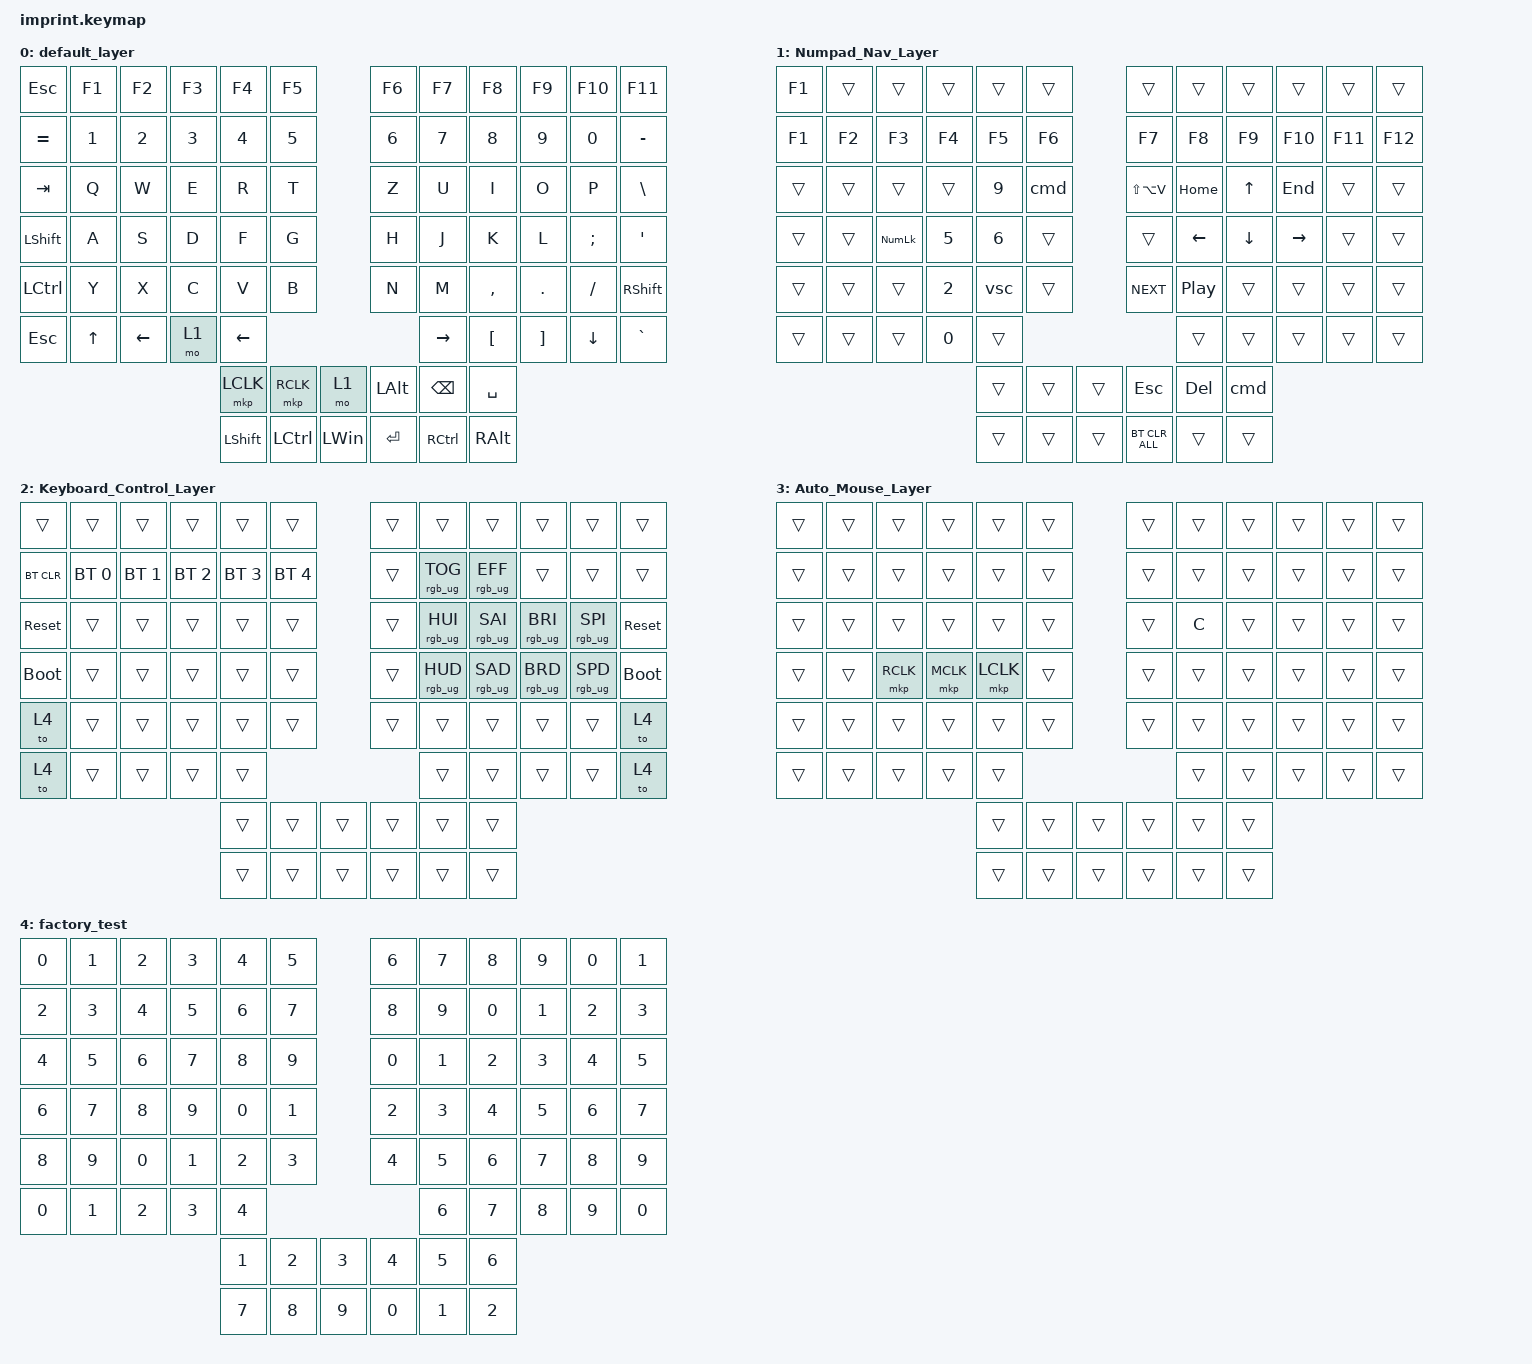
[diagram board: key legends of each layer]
#include <input/processors.dtsi>
#include <dt-bindings/zmk/input_transform.h>
#include <behaviors.dtsi>
#include <dt-bindings/zmk/bt.h>
#include <dt-bindings/zmk/keys.h>
#include <dt-bindings/zmk/pointing.h>
#include <dt-bindings/zmk/rgb.h>

/ {
    chosen { zmk,matrix-transform = &imprint_function_row_full_bottom_row; };

    macros {
        cmd: cmd {
            compatible = "zmk,behavior-macro";
            label = "CMD"; // Label ebenfalls angepasst
            #binding-cells = <0>;
            wait-ms = <30>;
            tap-ms = <30>;
            bindings =
                <&macro_press>,
                <&kp LSHFT>,
                <&macro_tap>,
                <&kp F10>,
                <&macro_release>,
                <&kp LSHFT>,
                <&macro_wait_time 60>,
                <&macro_tap>,
                <&kp T>,
                <&macro_tap>,
                <&kp RET>;
        };

        warp: warp {
            compatible = "zmk,behavior-macro";
            label = "WARP";
            #binding-cells = <0>;
            wait-ms = <30>;
            tap-ms = <30>;
            bindings =
                <&macro_press>,
                <&kp LALT>,
                <&macro_tap>,
                <&kp D>,
                <&macro_release>,
                <&kp LALT>,
                <&macro_wait_time 50>,
                <&macro_tap>,
                <&kp W &kp A &kp R &kp P>,
                <&macro_tap>,
                <&kp RET>;
        };

        vsc: vsc {
            compatible = "zmk,behavior-macro";
            label = "VSC";
            #binding-cells = <0>;
            wait-ms = <30>;
            tap-ms = <30>;
            bindings =
                <&macro_press>,
                <&kp LALT>,
                <&macro_tap>,
                <&kp D>,
                <&macro_release>,
                <&kp LALT>,
                <&macro_wait_time 50>,
                <&macro_tap>,
                <&kp C &kp O &kp D &kp E &kp DOT &kp E &kp X &kp E &kp SPACE &kp DOT>,
                <&macro_tap>,
                <&kp RET>;
        };

        terminal: terminal {
            compatible = "zmk,behavior-macro";
            label = "TERMINAL";
            #binding-cells = <0>;
            wait-ms = <30>;
            tap-ms = <30>;
            bindings =
                <&macro_press>,
                <&kp LGUI>,
                <&macro_tap>,
                <&kp R>,
                <&macro_release>,
                <&kp LGUI>,
                <&macro_wait_time 100>,
                <&macro_tap>,
                <&kp W &kp T>,
                <&macro_tap>,
                <&kp RET>;
        };

        explorer: explorer {
            compatible = "zmk,behavior-macro";
            label = "EXPLORER";
            #binding-cells = <0>;
            wait-ms = <30>;   // Standard-Wartezeit zwischen den Aktionen
            tap-ms = <30>;    // Standard-Tippdauer
            bindings =
                <&macro_press>,
                <&kp LGUI>,
                <&macro_tap>,
                <&kp R>,
                <&macro_release>,
                <&kp LGUI>,
                <&macro_wait_time 100>,
                <&macro_tap>,
                <&kp E &kp X &kp P &kp L &kp O &kp R &kp E &kp R>,
                <&macro_tap>,
                <&kp RET>;
        };
    };

    keymap {
        compatible = "zmk,keymap";

        default_layer {
            bindings = <
&kp ESC           &kp F1  &kp F2          &kp F3  &kp F4     &kp F5                            &kp F6        &kp F7             &kp F8         &kp F9    &kp F10         &kp F11
&kp EQUAL         &kp N1  &kp N2          &kp N3  &kp N4     &kp N5                            &kp N6        &kp N7             &kp N8         &kp N9    &kp N0          &kp MINUS
&kp TAB           &kp Q   &kp W           &kp E   &kp R      &kp T                             &kp Z         &kp U              &kp I          &kp O     &kp P           &kp BSLH
&kp LEFT_SHIFT    &kp A   &kp S           &kp D   &kp F      &kp G                             &kp H         &kp J              &kp K          &kp L     &kp SEMI        &kp SQT
&kp LEFT_CONTROL  &kp Y   &kp X           &kp C   &kp V      &kp B                             &kp N         &kp M              &kp COMMA      &kp DOT   &kp FSLH        &kp RSHFT
&kp ESCAPE        &kp UP  &kp LEFT_ARROW  &mo 1   &kp LEFT                                                   &kp RIGHT          &kp LBKT       &kp RBKT  &kp DOWN_ARROW  &kp GRAVE
                                                  &mkp LCLK  &mkp RCLK         &mo 1           &kp LEFT_ALT  &kp BSPC           &kp SPACE
                                                  &kp LSHFT  &kp LEFT_CONTROL  &kp LEFT_WIN    &kp ENTER     &kp RIGHT_CONTROL  &kp RIGHT_ALT
            >;
        };

        Numpad_Nav_Layer {
            bindings = <
&kp F1  &trans  &trans      &trans  &trans  &trans            &trans          &trans            &trans    &trans     &trans   &trans
&kp F1  &kp F2  &kp F3      &kp F4  &kp F5  &kp F6            &kp F7          &kp F8            &kp F9    &kp F10    &kp F11  &kp F12
&trans  &trans  &trans      &trans  &kp N9  &cmd              &kp LS(LA(V))   &kp HOME          &kp UP    &kp END    &trans   &trans
&trans  &trans  &kp KP_NUM  &kp N5  &kp N6  &trans            &trans          &kp LEFT          &kp DOWN  &kp RIGHT  &trans   &trans
&trans  &trans  &trans      &kp N2  &vsc    &trans            &kp C_NEXT      &kp C_PLAY_PAUSE  &trans    &trans     &trans   &trans
&trans  &trans  &trans      &kp N0  &trans                                    &trans            &trans    &trans     &trans   &trans
                                    &trans  &trans  &trans    &kp ESCAPE      &kp DEL           &cmd
                                    &trans  &trans  &trans    &bt BT_CLR_ALL  &trans            &trans
            >;
        };

        Keyboard_Control_Layer {
            bindings = <
&trans       &trans        &trans        &trans        &trans        &trans                  &trans  &trans           &trans           &trans           &trans           &trans
&bt BT_CLR   &bt BT_SEL 0  &bt BT_SEL 1  &bt BT_SEL 2  &bt BT_SEL 3  &bt BT_SEL 4            &trans  &rgb_ug RGB_TOG  &rgb_ug RGB_EFF  &trans           &trans           &trans
&sys_reset   &trans        &trans        &trans        &trans        &trans                  &trans  &rgb_ug RGB_HUI  &rgb_ug RGB_SAI  &rgb_ug RGB_BRI  &rgb_ug RGB_SPI  &sys_reset
&bootloader  &trans        &trans        &trans        &trans        &trans                  &trans  &rgb_ug RGB_HUD  &rgb_ug RGB_SAD  &rgb_ug RGB_BRD  &rgb_ug RGB_SPD  &bootloader
&to 4        &trans        &trans        &trans        &trans        &trans                  &trans  &trans           &trans           &trans           &trans           &to 4
&to 4        &trans        &trans        &trans        &trans                                        &trans           &trans           &trans           &trans           &to 4
                                                       &trans        &trans        &trans    &trans  &trans           &trans
                                                       &trans        &trans        &trans    &trans  &trans           &trans
            >;
        };

        Auto_Mouse_Layer {
            bindings = <
&trans  &trans  &trans     &trans     &trans     &trans            &trans  &trans  &trans  &trans  &trans  &trans
&trans  &trans  &trans     &trans     &trans     &trans            &trans  &trans  &trans  &trans  &trans  &trans
&trans  &trans  &trans     &trans     &trans     &trans            &trans  &kp C   &trans  &trans  &trans  &trans
&trans  &trans  &mkp RCLK  &mkp MCLK  &mkp LCLK  &trans            &trans  &trans  &trans  &trans  &trans  &trans
&trans  &trans  &trans     &trans     &trans     &trans            &trans  &trans  &trans  &trans  &trans  &trans
&trans  &trans  &trans     &trans     &trans                               &trans  &trans  &trans  &trans  &trans
                                      &trans     &trans  &trans    &trans  &trans  &trans
                                      &trans     &trans  &trans    &trans  &trans  &trans
            >;
        };

        factory_test {
            bindings = <
&kp N0  &kp N1  &kp N2  &kp N3  &kp N4  &kp N5            &kp N6  &kp N7  &kp N8  &kp N9  &kp N0  &kp N1
&kp N2  &kp N3  &kp N4  &kp N5  &kp N6  &kp N7            &kp N8  &kp N9  &kp N0  &kp N1  &kp N2  &kp N3
&kp N4  &kp N5  &kp N6  &kp N7  &kp N8  &kp N9            &kp N0  &kp N1  &kp N2  &kp N3  &kp N4  &kp N5
&kp N6  &kp N7  &kp N8  &kp N9  &kp N0  &kp N1            &kp N2  &kp N3  &kp N4  &kp N5  &kp N6  &kp N7
&kp N8  &kp N9  &kp N0  &kp N1  &kp N2  &kp N3            &kp N4  &kp N5  &kp N6  &kp N7  &kp N8  &kp N9
&kp N0  &kp N1  &kp N2  &kp N3  &kp N4                            &kp N6  &kp N7  &kp N8  &kp N9  &kp N0
                                &kp N1  &kp N2  &kp N3    &kp N4  &kp N5  &kp N6
                                &kp N7  &kp N8  &kp N9    &kp N0  &kp N1  &kp N2
            >;
        };
    };
};

//left hand trackball configuration

&trackball_central_listener {
    input-processors =
        // this gets it to the default installation orientation,,,,,,,,,,,,,,,,,,,,,,,,
        // multiply sensitivity by 1, divide by 3 (make it slower for scrolling),,,,,,,,,,,,,,,,,,,,,,,,
        <&zip_xy_scaler 1 25>,
        <&zip_scroll_scaler 1 25>,
        // make this trackball output scrolling events by default instead of cursor movement,,,,,,,,,,,,,,,,,,,,,,,,
        <&zip_xy_to_scroll_mapper>;
};
